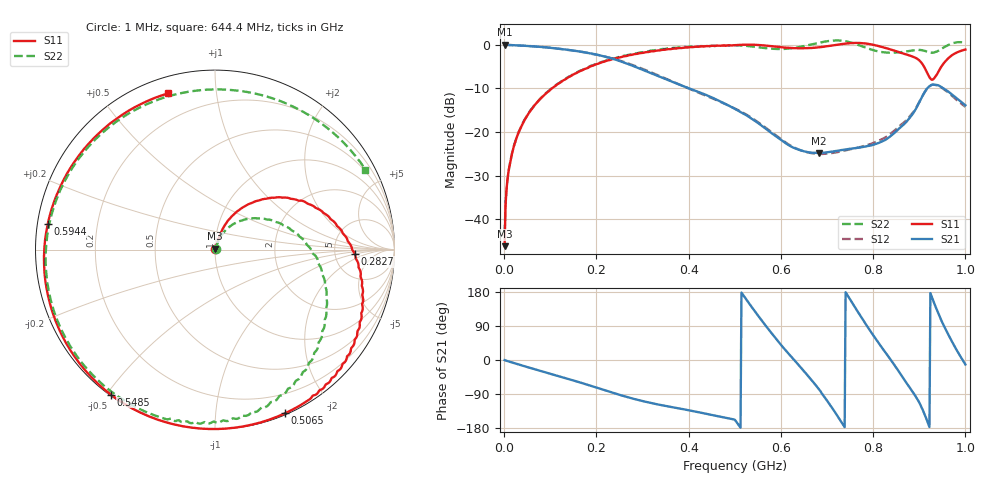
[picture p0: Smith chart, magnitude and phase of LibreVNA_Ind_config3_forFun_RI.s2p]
# GHZ RI RI R 50.000000000000
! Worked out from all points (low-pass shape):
!   501 points, 1 MHz to 1 GHz, reference 50 ohm
!   highest |S21| = 0.02 dB at 1 MHz (marker M1); lowest = -24.8 dB at 682.3 MHz (marker M2)
!   |S21| within 3 dB of the highest: start of sweep to 227.7 MHz
!   lowest |S11| = -46.2 dB at 1 MHz (marker M3), VSWR 1.01, Z = 50.2 + j0.467 ohm
!   |S11| at or under -10 dB: start of sweep to 103.8 MHz
!   |S22| runs from -43.3 to 1.0 dB; largest |S21 - S12| = 0.58
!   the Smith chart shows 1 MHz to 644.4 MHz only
!   S11 on the Smith chart (normalised r, x): 1 MHz: 1.00, +0.01; 282.7 MHz: 7.94, -0.99; 506.5 MHz: 0.01, -1.52; 548.5 MHz: 0.00, -0.51; 594.4 MHz: 0.03, +0.08; 644.4 MHz: 0.07, +0.74
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0.001  0.00156 0.00465  1.002 -0.00539  1.001 -0.0145  0.00424 0.00538
0.01099  0.0123 0.0372  0.9882 -0.0744  0.9879 -0.0743  0.014 0.0367
0.038962  0.0419 0.1134  0.9436 -0.2456  0.9442 -0.246  0.0577 0.1069
0.168832  0.4205 0.2835  0.403 -0.7238  0.4009 -0.7208  0.5101 0.0293
0.282718  0.779 -0.0244  -0.1274 -0.5472  -0.121 -0.5611  0.572 -0.5492
0.334666  0.823 -0.2439  -0.2013 -0.3845  -0.2055 -0.3934  0.4173 -0.771
0.502498  0.4753 -0.8674  -0.1719 -0.0574  -0.1709 -0.0656  -0.3391 -0.9226
0.506494  0.3904 -0.9119  -0.173 -0.0358  -0.1727 -0.0465  -0.4398 -0.8781
0.548452  -0.5804 -0.8076  -0.0651 0.1109  -0.0905 0.0958  -0.9343 0.081
0.594406  -0.9319 0.1427  0.0563 0.064  0.0271 0.083  -0.1975 0.8698
0.644356  -0.2615 0.8702  0.0569 -0.0224  0.0593 0.0153  0.8381 0.4462
0.668332  0.2121 0.8935  0.0326 -0.0477  0.0553 -0.0131  1.004 -0.1185
0.682318  0.4799 0.7997  0.013 -0.0559  0.0481 -0.0286  0.9323 -0.483
0.722278  0.9931 0.1096  -0.0508 -0.0334  0.00315 -0.0585  -0.0544 -1.117
0.762238  0.6569 -0.8161  -0.0471 0.0453  -0.0577 -0.0305  -0.9735 -0.2987
0.794206  -0.1735 -0.9965  0.0169 0.0677  -0.0659 0.0306  -0.6936 0.5501
0.834166  -0.8365 -0.3146  0.0858 0.011  -0.0059 0.0921  0.1729 0.79
0.87013  -0.6694 0.3959  0.0704 -0.1061  0.1055 0.0813  0.7579 0.3474
0.9001  -0.1745 0.6376  -0.0843 -0.2027  0.2173 -0.0403  0.8302 -0.2632
0.928072  0.00243 0.3956  -0.3336 0.0998  0.0273 -0.3465  0.5155 -0.6225
0.968032  0.3139 0.6672  0.1576 0.2268  -0.267 0.0154  -0.0787 -1.017
1  0.8289 0.2952  0.198 -0.0413  -0.1033 0.1638  -0.9 -0.5471
